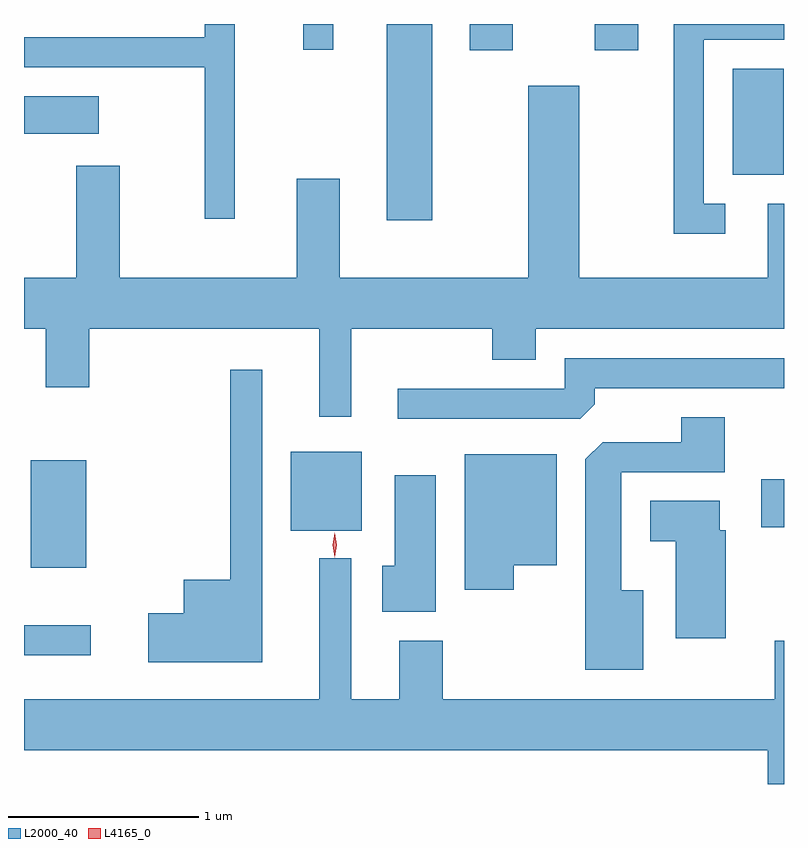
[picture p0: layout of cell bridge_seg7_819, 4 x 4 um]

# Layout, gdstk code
import gdstk
lib = gdstk.Library(unit=1e-6, precision=1e-09)
def R(c, l, rs):  # rectangles x0, y0, x1, y1
    for r in rs: c.add(gdstk.rectangle(r[:2], r[2:], *l))
def P(c, l, *ps):  # polygons
    for p in ps: c.add(gdstk.Polygon(p, *l))
L2000_40 = (2000, 40)
L4165_0 = (4165, 0)

bridge_seg7_819 = lib.new_cell('bridge_seg7_819')
R(bridge_seg7_819, L2000_40, [(207.426,1772.536,207.778,1772.694), (207.461,1772.996,207.754,1773.564), (208.831,1773.191,209.204,1773.609), (211.306,1773.211,211.426,1773.464), (209.336,1774.826,209.574,1775.859), (211.156,1775.066,211.424,1775.624), (207.426,1775.281,207.819,1775.479), (209.771,1775.721,209.999,1775.859), (210.431,1775.721,210.659,1775.859), (208.896,1775.723,209.054,1775.859)])
P(bridge_seg7_819, L2000_40, [(208.534,1775.859),(208.376,1775.859),(208.376,1775.789),(207.426,1775.789),(207.426,1775.631),(208.376,1775.631),(208.376,1774.833),(208.534,1774.833)],
  [(211.118,1774.914),(211.004,1774.914),(211.004,1775.776),(211.426,1775.776),(211.426,1775.859),(210.846,1775.859),(210.846,1774.756),(211.118,1774.756)],
  [(209.149,1774.256),(209.891,1774.256),(209.891,1774.091),(210.119,1774.091),(210.119,1774.256),(211.426,1774.256),(211.426,1774.914),(211.341,1774.914),(211.341,1774.524),(210.349,1774.524),(210.349,1775.534),(210.081,1775.534),(210.081,1774.524),(209.089,1774.524),(209.089,1775.044),(208.861,1775.044),(208.861,1774.524),(207.929,1774.524),(207.929,1775.114),(207.701,1775.114),(207.701,1774.524),(207.426,1774.524),(207.426,1774.256),(207.541,1774.256),(207.541,1773.946),(207.769,1773.946),(207.769,1774.256),(208.981,1774.256),(208.981,1773.793),(209.149,1773.793)],
  [(210.429,1773.857),(210.429,1773.941),(211.426,1773.941),(211.426,1774.099),(210.271,1774.099),(210.271,1773.939),(209.393,1773.939),(209.393,1773.781),(210.354,1773.781)],
  [(208.679,1774.038),(208.511,1774.038),(208.511,1772.934),(208.266,1772.934),(208.266,1772.759),(208.081,1772.759),(208.081,1772.501),(208.679,1772.501)],
  [(210.684,1772.879),(210.569,1772.879),(210.569,1773.501),(211.114,1773.501),(211.114,1773.789),(210.886,1773.789),(210.886,1773.659),(210.472,1773.659),(210.381,1773.569),(210.381,1772.461),(210.684,1772.461)],
  [(210.004,1773.011),(210.229,1773.011),(210.229,1773.594),(209.746,1773.594),(209.746,1772.881),(210.004,1772.881)],
  [(209.594,1773.484),(209.376,1773.484),(209.376,1773.009),(209.311,1773.009),(209.311,1772.766),(209.594,1772.766)],
  [(211.119,1773.194),(211.089,1773.194),(211.089,1773.349),(210.721,1773.349),(210.721,1773.136),(210.856,1773.136),(210.856,1772.626),(211.119,1772.626)],
  [(211.426,1772.614),(211.376,1772.614),(211.376,1772.304),(209.629,1772.304),(209.629,1772.614),(209.401,1772.614),(209.401,1772.304),(209.149,1772.304),(209.149,1773.048),(208.981,1773.048),(208.981,1772.304),(207.426,1772.304),(207.426,1772.036),(211.341,1772.036),(211.341,1771.859),(211.426,1771.859)])
P(bridge_seg7_819, L4165_0, [(209.062,1773.052),(209.061,1773.053),(209.052,1773.117),(209.061,1773.181),(209.062,1773.182),(209.062,1773.181),(209.072,1773.117),(209.062,1773.053)])

lib.write_gds('bridge_seg7_819.gds')
